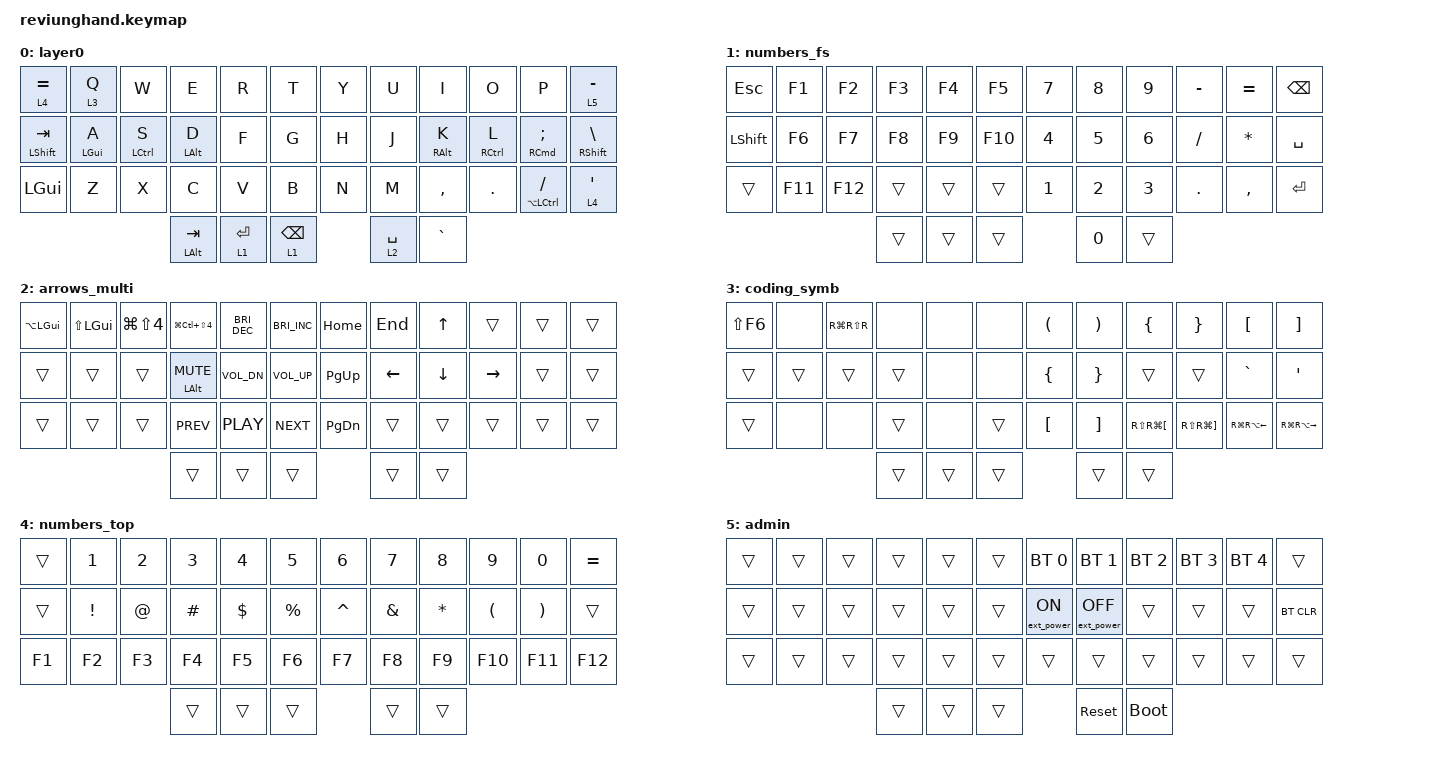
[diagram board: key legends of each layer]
/*
 * Copyright (c) 2020 The ZMK Contributors
 *
 * SPDX-License-Identifier: MIT
 */

#include <behaviors.dtsi>
#include <dt-bindings/zmk/bt.h>
#include <dt-bindings/zmk/ext_power.h>
#include <dt-bindings/zmk/keys.h>

/ {
    behaviors {
        hm: homerow_mods {
            compatible = "zmk,behavior-hold-tap";
            label = "HOMEROW_MODS";
            bindings = <&kp>, <&kp>;

            #binding-cells = <2>;
            tapping-term-ms = <175>;
            flavor = "tap-preferred";
            require-prior-idle-ms = <125>;
            quick-tap-ms = <150>;
        };

        shifthr: shifthr {
            compatible = "zmk,behavior-hold-tap";
            label = "SHIFTHR";
            bindings = <&kp>, <&kp>;

            #binding-cells = <2>;
            tapping-term-ms = <185>;
            flavor = "tap-preferred";
            quick-tap-ms = <185>;
        };

        weak: weak {
            compatible = "zmk,behavior-hold-tap";
            label = "WEAK";
            bindings = <&kp>, <&kp>;

            #binding-cells = <2>;
            tapping-term-ms = <230>;
            flavor = "tap-preferred";
            require-prior-idle-ms = <125>;
            quick-tap-ms = <230>;
        };
    };

    keymap {
        compatible = "zmk,keymap";

        layer0 {
            bindings = <
&lt 4 EQUAL         &lt 3 Q         &kp W               &kp E           &kp R        &kp T                   &kp Y  &kp U        &kp I       &kp O                &kp P                        &lt 5 MINUS
&mt LEFT_SHIFT TAB  &hm LEFT_GUI A  &hm LEFT_CONTROL S  &hm LEFT_ALT D  &kp F        &kp G                   &kp H  &kp J        &hm RALT K  &hm RIGHT_CONTROL L  &hm RIGHT_COMMAND SEMICOLON  &hm RSHFT BACKSLASH
&kp LEFT_GUI        &kp Z           &kp X               &kp C           &kp V        &kp B                   &kp N  &kp M        &kp COMMA   &kp DOT              &mt LA(LCTRL) SLASH          &lt 4 SQT
                                                        &mt LALT TAB    &lt 1 ENTER         &lt 1 BACKSPACE         &lt 2 SPACE  &kp GRAVE
            >;
        };

        numbers_fs {
            bindings = <
&kp ESCAPE      &kp F1   &kp F2   &kp F3  &kp F4  &kp F5           &kp N7  &kp N8        &kp N9  &kp MINUS   &kp EQUAL     &kp BACKSPACE
&kp LEFT_SHIFT  &kp F6   &kp F7   &kp F8  &kp F9  &kp F10          &kp N4  &kp N5        &kp N6  &kp SLASH   &kp ASTERISK  &kp SPACE
&trans          &kp F11  &kp F12  &trans  &trans  &trans           &kp N1  &kp N2        &kp N3  &kp PERIOD  &kp COMMA     &kp ENTER
                                  &trans  &trans           &trans          &kp NUMBER_0  &trans
            >;
        };

        arrows_multi {
            bindings = <
&kp LA(LEFT_GUI)  &kp LS(LEFT_GUI)  &kp LG(LS(NUMBER_4))  &kp LG(LC(LS(NUMBER_4)))  &kp C_BRIGHTNESS_DEC  &kp C_BRIGHTNESS_INC          &kp HOME       &kp END   &kp UP    &trans     &trans  &trans
&trans            &trans            &trans                &hm LALT C_MUTE           &kp C_VOL_DN          &kp C_VOLUME_UP               &kp PAGE_UP    &kp LEFT  &kp DOWN  &kp RIGHT  &trans  &trans
&trans            &trans            &trans                &kp C_PREV                &kp C_PLAY            &kp C_NEXT                    &kp PAGE_DOWN  &trans    &trans    &trans     &trans  &trans
                                                          &trans                    &trans                                      &trans                 &trans    &trans
            >;
        };

        coding_symb {
            bindings = <
&kp LS(F6)  &none   &kp RG(RS(R))  &none   &none   &none           &kp LEFT_PARENTHESIS  &kp RIGHT_PARENTHESIS  &kp LEFT_BRACE            &kp RIGHT_BRACE            &kp LEFT_BRACKET  &kp RIGHT_BRACKET
&trans      &trans  &trans         &trans  &none   &none           &kp LEFT_BRACE        &kp RIGHT_BRACE        &trans                    &trans                     &kp GRAVE         &kp APOSTROPHE
&trans      &none   &none          &trans  &none   &trans          &kp LEFT_BRACKET      &kp RIGHT_BRACKET      &kp RS(RG(LEFT_BRACKET))  &kp RS(RG(RIGHT_BRACKET))  &kp RG(RA(LEFT))  &kp RG(RA(RIGHT))
                                   &trans  &trans          &trans                        &trans                 &trans
            >;
        };

        numbers_top {
            bindings = <
&trans  &kp NUMBER_1     &kp NUMBER_2  &kp NUMBER_3  &kp NUMBER_4  &kp N5               &kp NUMBER_6  &kp N7         &kp N8        &kp N9                &kp N0                 &kp EQUAL
&trans  &kp EXCLAMATION  &kp AT_SIGN   &kp HASH      &kp DOLLAR    &kp PERCENT          &kp CARET     &kp AMPERSAND  &kp ASTERISK  &kp LEFT_PARENTHESIS  &kp RIGHT_PARENTHESIS  &trans
&kp F1  &kp F2           &kp F3        &kp F4        &kp F5        &kp F6               &kp F7        &kp F8         &kp F9        &kp F10               &kp F11                &kp F12
                                       &trans        &trans                     &trans                &trans         &trans
            >;
        };

        admin {
            bindings = <
&trans  &trans  &trans  &trans  &trans  &trans          &bt BT_SEL 0      &bt BT_SEL 1       &bt BT_SEL 2  &bt BT_SEL 3  &bt BT_SEL 4  &trans
&trans  &trans  &trans  &trans  &trans  &trans          &ext_power EP_ON  &ext_power EP_OFF  &trans        &trans        &trans        &bt BT_CLR
&trans  &trans  &trans  &trans  &trans  &trans          &trans            &trans             &trans        &trans        &trans        &trans
                        &trans  &trans          &trans                    &sys_reset         &bootloader
            >;
        };
    };
};
